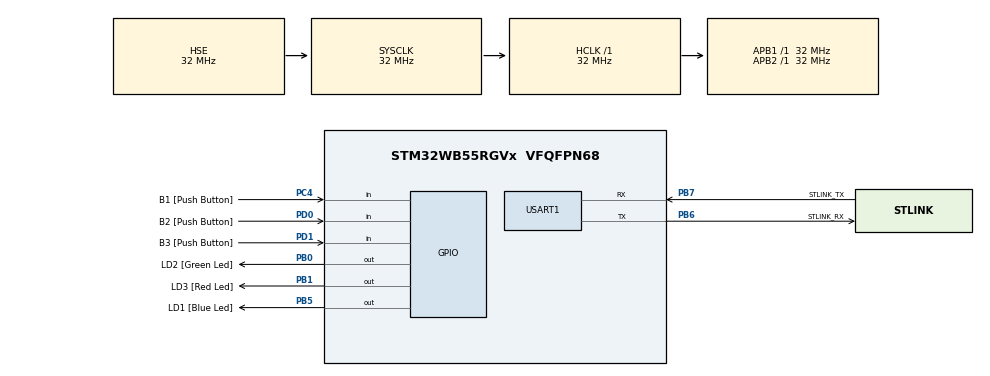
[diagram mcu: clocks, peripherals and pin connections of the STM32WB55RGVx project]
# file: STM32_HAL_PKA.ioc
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Mcu.Family=STM32WB
Mcu.Name=STM32WB55RGVx
Mcu.Package=VFQFPN68
NVIC.PriorityGroup=NVIC_PRIORITYGROUP_4
OSC_IN.Mode=HSE-External-Oscillator
OSC_IN.Signal=RCC_OSC_IN
OSC_OUT.Mode=HSE-External-Oscillator
OSC_OUT.Signal=RCC_OSC_OUT
PA11.Signal=USB_DM
PA12.Signal=USB_DP
PA13.GPIO_Label=JTMS
PA13.Mode=Trace_Asynchronous_SW
PA13.Signal=SYS_JTMS-SWDIO
PA14.GPIO_Label=JTCK
PA14.Mode=Trace_Asynchronous_SW
PA14.Signal=SYS_JTCK-SWCLK
PB0.GPIO_Label=LD2 [Green Led]
PB0.Signal=GPIO_Output
PB1.GPIO_Label=LD3 [Red Led]
PB1.Signal=GPIO_Output
PB3.GPIO_Label=JTDO
PB3.Mode=Trace_Asynchronous_SW
PB3.Signal=SYS_JTDO-SWO
PB5.GPIO_Label=LD1 [Blue Led]
PB5.Signal=GPIO_Output
PB6.GPIO_Label=STLINK_RX
PB6.GPIO_PuPd=GPIO_PULLUP
PB6.Mode=Asynchronous
PB6.Signal=USART1_TX
PB7.GPIO_Label=STLINK_TX
PB7.GPIO_PuPd=GPIO_PULLUP
PB7.Mode=Asynchronous
PB7.Signal=USART1_RX
PC13.Mode=SYS_WakeUp1
PC13.Signal=SYS_WKUP2
PC14-OSC32_IN.Mode=LSE-External-Oscillator
PC14-OSC32_IN.Signal=RCC_OSC32_IN
PC15-OSC32_OUT.Mode=LSE-External-Oscillator
PC15-OSC32_OUT.Signal=RCC_OSC32_OUT
PC4.GPIO_Label=B1 [Push Button]
PC4.Signal=GPIO_Input
PD0.GPIO_Label=B2 [Push Button]
PD0.Signal=GPIO_Input
PD1.GPIO_Label=B3 [Push Button]
PD1.Signal=GPIO_Input
ProjectManager.HeapSize=0x200
ProjectManager.StackSize=0x400
ProjectManager.TargetToolchain=STM32CubeIDE
RCC.ADCFreq_Value=48000000
RCC.AHBFreq_Value=32000000
RCC.APB1Freq_Value=32000000
RCC.APB1TimFreq_Value=32000000
RCC.APB2Freq_Value=32000000
RCC.APB2TimFreq_Value=32000000
RCC.APB3Freq_Value=16000000
RCC.CortexFreq_Value=32000000
RCC.HCLKFreq_Value=32000000
RCC.HSE_VALUE=32000000
RCC.HSI48_VALUE=48000000
RCC.HSI_VALUE=16000000
RCC.PLLN=32
RCC.PLLSAI1N=24
RCC.SMPSCLockSelectionVirtual=RCC_SMPSCLKSOURCE_HSI
RCC.SMPSCLockSelectionVirtualVirtual=RCC_SMPSCLKSOURCE_HSI
RCC.SMPSDivider=1
RCC.SYSCLKFreq_VALUE=32000000
RCC.SYSCLKSource=RCC_SYSCLKSOURCE_HSE
RCC.USBFreq_Value=48000000
RCC.VCOOutputFreq_Value=128000000
USART1.VirtualMode-Asynchronous=VM_ASYNC
USART1.WordLength=WORDLENGTH_7B
VP_PKA_VS_PKA.Mode=PKA_Activate
board=NUCLEO-WB55RG

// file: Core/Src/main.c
/* USER CODE BEGIN Header */
/**
  ******************************************************************************
  * @file           : main.c
  * @brief          : Main program body
  ******************************************************************************
  * @attention
  *
  * Copyright (c) 2022 STMicroelectronics.
  * All rights reserved.
  *
  * This software is licensed under terms that can be found in the LICENSE file
  * in the root directory of this software component.
  * If no LICENSE file comes with this software, it is provided AS-IS.
  *
  ******************************************************************************
  */
/* USER CODE END Header */
#include "main.h"
#include "pka.h"
#include "usart.h"
#include "gpio.h"

/* USER CODE BEGIN Includes */
#include <memory.h>
/* USER CODE END Includes */

void SystemClock_Config(void);
void PeriphCommonClock_Config(void);

/* USER CODE BEGIN 0 */

/*
Tools> openssl rsa -in .\MyPrivKey.pem -text
Private-Key: (1024 bit)
modulus:
    00:c5:dc:8a:7f:82:57:70:06:fa:89:49:61:65:30:
    3b:e5:9d:cb:3f:bd:22:dd:30:51:a3:54:56:9c:f7:
    6e:a4:b7:f7:85:d8:eb:dd:d2:f1:0f:1a:71:48:20:
    7b:aa:42:b8:49:d7:b8:a8:28:7f:3a:9f:34:3e:d7:
    60:f9:11:9b:12:42:01:6c:63:40:33:51:fb:72:b3:
    a5:97:32:76:91:fb:ea:16:73:c2:01:f4:f7:ed:ea:
    22:f7:a2:44:1f:c8:84:00:96:bb:d2:04:23:e6:01:
    d1:92:bd:dd:2b:38:0b:30:31:dd:7d:4f:b6:52:e0:
    01:88:f1:0b:43:ba:d9:d1:2b
publicExponent: 65537 (0x10001)
privateExponent:
    0c:a4:d7:44:e6:b3:67:b9:4a:71:53:7b:21:d8:3f:
    3b:a1:25:c7:e0:f2:45:68:3d:0f:4e:e8:6a:07:75:
    ce:98:e2:fc:6e:ac:43:f4:a2:ea:f0:29:a5:0e:4e:
    58:c7:02:b7:d5:4d:3b:91:ba:ef:a8:14:d2:9f:38:
    d7:31:c4:d2:fc:f6:5b:2d:9f:5a:61:da:74:2f:d7:
    7c:e5:19:aa:64:b8:55:0f:d7:26:60:bb:42:44:47:
    65:a0:09:2f:18:74:ca:9a:b1:52:33:3f:fd:fc:b9:
    13:af:c1:7f:f7:2f:4f:ba:7d:a5:f7:ce:be:fc:cd:
    d9:9c:ad:c7:a2:b5:96:81
prime1:
    00:f8:03:0a:d8:b6:70:b9:b0:c0:03:f2:0b:d9:51:
    1b:dd:38:c9:36:88:0b:97:6b:86:8b:8f:a6:5a:29:
    ba:6a:fc:47:9b:4d:1f:f5:7f:19:09:85:d1:a2:f3:
    61:c7:35:30:c1:dd:e9:48:86:62:a5:dc:d8:c4:fb:
    79:80:b6:62:71
prime2:
    00:cc:3b:fd:0c:b4:cb:14:34:cf:e3:11:63:f2:4b:
    e1:50:29:3f:0c:11:3d:09:17:d5:ab:bd:03:12:df:
    85:c8:e0:4a:bd:93:8f:ca:89:57:12:c2:8f:6b:48:
    ac:4d:6d:2b:95:52:ed:6d:d6:47:0e:14:a5:bf:89:
    89:28:75:83:5b
exponent1:
    19:73:0e:78:e0:77:be:c6:41:5d:e6:47:8a:fc:44:
    b4:b5:b0:08:15:7b:c3:04:f8:a0:77:94:25:6a:64:
    c3:b7:b1:8d:61:23:a7:68:6c:64:4a:c4:11:49:92:
    3e:03:da:45:fa:84:86:b9:ab:83:c3:9e:c6:cf:db:
    4e:f6:e8:31
exponent2:
    00:cb:71:5a:52:44:ea:22:97:b5:19:e8:e1:d9:a3:
    92:ae:ea:57:5e:6a:f1:94:d4:44:49:4d:ff:f8:d5:
    e6:0b:c2:b9:50:fc:e3:f8:8a:34:cd:80:37:a3:54:
    02:27:22:7f:8e:c0:cb:b8:65:01:e4:d9:d6:7d:e4:
    c0:57:28:30:0f
coefficient:
    65:21:7d:89:f1:8f:8c:a4:7f:c7:09:b3:01:11:ad:
    f2:77:72:77:1f:23:ac:9a:52:cd:df:e0:00:13:59:
    87:39:92:de:4a:7d:29:f2:a8:80:7a:34:7d:65:e1:
    e4:66:8f:d6:e5:f5:5e:ff:45:a7:88:cf:e7:c2:76:
    8b:c3:db:cc
writing RSA key
-----BEGIN RSA PRIVATE KEY-----
MIICXAIBAAKBgQDF3Ip/gldwBvqJSWFlMDvlncs/vSLdMFGjVFac926kt/eF2Ovd
0vEPGnFIIHuqQrhJ17ioKH86nzQ+12D5EZsSQgFsY0AzUftys6WXMnaR++oWc8IB
9Pft6iL3okQfyIQAlrvSBCPmAdGSvd0rOAswMd19T7ZS4AGI8QtDutnRKwIDAQAB
AoGADKTXROazZ7lKcVN7Idg/O6Elx+DyRWg9D07oagd1zpji/G6sQ/Si6vAppQ5O
WMcCt9VNO5G676gU0p841zHE0vz2Wy2fWmHadC/XfOUZqmS4VQ/XJmC7QkRHZaAJ
Lxh0ypqxUjM//fy5E6/Bf/cvT7p9pffOvvzN2Zytx6K1loECQQD4AwrYtnC5sMAD
8gvZURvdOMk2iAuXa4aLj6ZaKbpq/EebTR/1fxkJhdGi82HHNTDB3elIhmKl3NjE
+3mAtmJxAkEAzDv9DLTLFDTP4xFj8kvhUCk/DBE9CRfVq70DEt+FyOBKvZOPyolX
EsKPa0isTW0rlVLtbdZHDhSlv4mJKHWDWwJAGXMOeOB3vsZBXeZHivxEtLWwCBV7
wwT4oHeUJWpkw7exjWEjp2hsZErEEUmSPgPaRfqEhrmrg8Oexs/bTvboMQJBAMtx
WlJE6iKXtRno4dmjkq7qV15q8ZTURElN//jV5gvCuVD84/iKNM2AN6NUAicif47A
y7hlAeTZ1n3kwFcoMA8CQGUhfYnxj4ykf8cJswERrfJ3cncfI6yaUs3f4AATWYc5
kt5KfSnyqIB6NH1l4eRmj9bl9V7/RaeIz+fCdovD28w=
-----END RSA PRIVATE KEY-----
*/

uint8_t modulus[] = {
    0x00,0xc5,0xdc,0x8a,0x7f,0x82,0x57,0x70,0x06,0xfa,0x89,0x49,0x61,0x65,0x30,
    0x3b,0xe5,0x9d,0xcb,0x3f,0xbd,0x22,0xdd,0x30,0x51,0xa3,0x54,0x56,0x9c,0xf7,
    0x6e,0xa4,0xb7,0xf7,0x85,0xd8,0xeb,0xdd,0xd2,0xf1,0x0f,0x1a,0x71,0x48,0x20,
    0x7b,0xaa,0x42,0xb8,0x49,0xd7,0xb8,0xa8,0x28,0x7f,0x3a,0x9f,0x34,0x3e,0xd7,
    0x60,0xf9,0x11,0x9b,0x12,0x42,0x01,0x6c,0x63,0x40,0x33,0x51,0xfb,0x72,0xb3,
    0xa5,0x97,0x32,0x76,0x91,0xfb,0xea,0x16,0x73,0xc2,0x01,0xf4,0xf7,0xed,0xea,
    0x22,0xf7,0xa2,0x44,0x1f,0xc8,0x84,0x00,0x96,0xbb,0xd2,0x04,0x23,0xe6,0x01,
    0xd1,0x92,0xbd,0xdd,0x2b,0x38,0x0b,0x30,0x31,0xdd,0x7d,0x4f,0xb6,0x52,0xe0,
    0x01,0x88,0xf1,0x0b,0x43,0xba,0xd9,0xd1,0x2b};

uint8_t publicExponent[] = {0x00,0x01,0x00,0x01};

uint8_t privateExponent[] = {
    0x0c,0xa4,0xd7,0x44,0xe6,0xb3,0x67,0xb9,0x4a,0x71,0x53,0x7b,0x21,0xd8,0x3f,
    0x3b,0xa1,0x25,0xc7,0xe0,0xf2,0x45,0x68,0x3d,0x0f,0x4e,0xe8,0x6a,0x07,0x75,
    0xce,0x98,0xe2,0xfc,0x6e,0xac,0x43,0xf4,0xa2,0xea,0xf0,0x29,0xa5,0x0e,0x4e,
    0x58,0xc7,0x02,0xb7,0xd5,0x4d,0x3b,0x91,0xba,0xef,0xa8,0x14,0xd2,0x9f,0x38,
    0xd7,0x31,0xc4,0xd2,0xfc,0xf6,0x5b,0x2d,0x9f,0x5a,0x61,0xda,0x74,0x2f,0xd7,
    0x7c,0xe5,0x19,0xaa,0x64,0xb8,0x55,0x0f,0xd7,0x26,0x60,0xbb,0x42,0x44,0x47,
    0x65,0xa0,0x09,0x2f,0x18,0x74,0xca,0x9a,0xb1,0x52,0x33,0x3f,0xfd,0xfc,0xb9,
    0x13,0xaf,0xc1,0x7f,0xf7,0x2f,0x4f,0xba,0x7d,0xa5,0xf7,0xce,0xbe,0xfc,0xcd,
    0xd9,0x9c,0xad,0xc7,0xa2,0xb5,0x96,0x81};

uint8_t plainText[] = {
    0x00,0x01,0x02,0x03,0x04,0x05,0x06,0x07,0x08,0x09,0x0a,0x0b,0x0c,0x0d,0x0e,0x0f,
    0x00,0x01,0x02,0x03,0x04,0x05,0x06,0x07,0x08,0x09,0x0a,0x0b,0x0c,0x0d,0x0e,0x0f,
    0x00,0x01,0x02,0x03,0x04,0x05,0x06,0x07,0x08,0x09,0x0a,0x0b,0x0c,0x0d,0x0e,0x0f,
    0x00,0x01,0x02,0x03,0x04,0x05,0x06,0x07,0x08,0x09,0x0a,0x0b,0x0c,0x0d,0x0e,0x0f,
    0x00,0x01,0x02,0x03,0x04,0x05,0x06,0x07,0x08,0x09,0x0a,0x0b,0x0c,0x0d,0x0e,0x0f,
    0x00,0x01,0x02,0x03,0x04,0x05,0x06,0x07,0x08,0x09,0x0a,0x0b,0x0c,0x0d,0x0e,0x0f,
    0x00,0x01,0x02,0x03,0x04,0x05,0x06,0x07,0x08,0x09,0x0a,0x0b,0x0c,0x0d,0x0e,0x0f,
    0x00,0x01,0x02,0x03,0x04,0x05,0x06,0x07,0x08,0x09,0x0a,0x0b,0x0c,0x0d,0x0e,0x0f
};

uint8_t encryptedText[] = {
    0x67,0xf1,0x99,0xc9,0x55,0xc3,0xdb,0x9c,0xa7,0x1e,0x8e,0x90,0xea,0x65,0x07,0x57,
    0x09,0xbe,0x74,0x2b,0x86,0x83,0x63,0xb4,0x2e,0x45,0x58,0xb8,0x04,0x4d,0x21,0xa8,
    0x60,0x62,0xc1,0xe2,0xe6,0x18,0xe3,0xf8,0xa0,0x3d,0xd3,0x43,0xc2,0xcd,0x98,0xe0,
    0xa5,0x1f,0x08,0x09,0x6d,0xd6,0xca,0xe8,0x1f,0x3e,0x54,0xb1,0x88,0x48,0xf4,0x19,
    0x4d,0x86,0x02,0x80,0x40,0x43,0xcb,0x13,0xd4,0x5f,0x89,0xee,0xff,0x03,0x9c,0xf7,
    0xfc,0x7c,0x6f,0x31,0x38,0x0f,0x52,0xbb,0xfa,0x15,0x36,0xc2,0x3e,0xbb,0xaa,0x4a,
    0x75,0xa7,0xe2,0x66,0x0a,0x3a,0xf8,0x56,0xe5,0xa7,0x52,0x7a,0x94,0x67,0x89,0x07,
    0xcb,0x40,0x4a,0x24,0xac,0xfb,0x9b,0x00,0x1c,0xcb,0xd4,0x62,0xfa,0x1c,0xae,0xe0
};

uint8_t encBuffer[128] = {0,};
uint8_t decBuffer[128] = {0,};

/* USER CODE END 0 */

int main(void)
{

  /* MCU Configuration--------------------------------------------------------*/

  /* Reset of all peripherals, Initializes the Flash interface and the Systick. */
  HAL_Init();

  /* Configure the system clock */
  SystemClock_Config();

/* Configure the peripherals common clocks */
  PeriphCommonClock_Config();

  /* Initialize all configured peripherals */
  MX_GPIO_Init();
  MX_PKA_Init();
  MX_USART1_UART_Init();
  /* USER CODE BEGIN 2 */

  PKA_ModExpInTypeDef in;
  in.expSize = sizeof(publicExponent);
  in.OpSize = sizeof(modulus);
  in.pExp = publicExponent;
  in.pMod = modulus;
  in.pOp1 = plainText;

  //publicExponent + modulus = public key
  if(HAL_OK != HAL_PKA_ModExp(&hpka, &in, 1000))
  {
    Error_Handler();
  }

  HAL_PKA_ModExp_GetResult(&hpka, encBuffer);

  if(memcmp(encryptedText, encBuffer, sizeof(encryptedText)) != 0)
  {
    Error_Handler();
  }

  in.expSize = sizeof(privateExponent);
  in.OpSize = sizeof(modulus);
  in.pExp = privateExponent;
  in.pMod = modulus;
  in.pOp1 = encryptedText;

  //privateExponent + modulus = private key
  if(HAL_OK != HAL_PKA_ModExp(&hpka, &in, 1000))
  {
    Error_Handler();
  }

  HAL_PKA_ModExp_GetResult(&hpka, decBuffer);

  if(memcmp(plainText, decBuffer, sizeof(plainText)) != 0)
  {
    Error_Handler();
  }

  /* USER CODE END 2 */

  /* Infinite loop */
  while (1)
  {

  }
}

void SystemClock_Config(void)
{
  RCC_OscInitTypeDef RCC_OscInitStruct = {0};
  RCC_ClkInitTypeDef RCC_ClkInitStruct = {0};

  /** Configure the main internal regulator output voltage
  */
  __HAL_PWR_VOLTAGESCALING_CONFIG(PWR_REGULATOR_VOLTAGE_SCALE1);

  /** Initializes the RCC Oscillators according to the specified parameters
  * in the RCC_OscInitTypeDef structure.
  */
  RCC_OscInitStruct.OscillatorType = RCC_OSCILLATORTYPE_HSI|RCC_OSCILLATORTYPE_HSE;
  RCC_OscInitStruct.HSEState = RCC_HSE_ON;
  RCC_OscInitStruct.HSIState = RCC_HSI_ON;
  RCC_OscInitStruct.HSICalibrationValue = RCC_HSICALIBRATION_DEFAULT;
  RCC_OscInitStruct.PLL.PLLState = RCC_PLL_NONE;
  if (HAL_RCC_OscConfig(&RCC_OscInitStruct) != HAL_OK)
  {
    Error_Handler();
  }

  /** Configure the SYSCLKSource, HCLK, PCLK1 and PCLK2 clocks dividers
  */
  RCC_ClkInitStruct.ClockType = RCC_CLOCKTYPE_HCLK4|RCC_CLOCKTYPE_HCLK2
                              |RCC_CLOCKTYPE_HCLK|RCC_CLOCKTYPE_SYSCLK
                              |RCC_CLOCKTYPE_PCLK1|RCC_CLOCKTYPE_PCLK2;
  RCC_ClkInitStruct.SYSCLKSource = RCC_SYSCLKSOURCE_HSE;
  RCC_ClkInitStruct.AHBCLKDivider = RCC_SYSCLK_DIV1;
  RCC_ClkInitStruct.APB1CLKDivider = RCC_HCLK_DIV1;
  RCC_ClkInitStruct.APB2CLKDivider = RCC_HCLK_DIV1;
  RCC_ClkInitStruct.AHBCLK2Divider = RCC_SYSCLK_DIV1;
  RCC_ClkInitStruct.AHBCLK4Divider = RCC_SYSCLK_DIV1;

  if (HAL_RCC_ClockConfig(&RCC_ClkInitStruct, FLASH_LATENCY_1) != HAL_OK)
  {
    Error_Handler();
  }
}

void PeriphCommonClock_Config(void)
{
  RCC_PeriphCLKInitTypeDef PeriphClkInitStruct = {0};

  /** Initializes the peripherals clock
  */
  PeriphClkInitStruct.PeriphClockSelection = RCC_PERIPHCLK_SMPS;
  PeriphClkInitStruct.SmpsClockSelection = RCC_SMPSCLKSOURCE_HSI;
  PeriphClkInitStruct.SmpsDivSelection = RCC_SMPSCLKDIV_RANGE0;

  if (HAL_RCCEx_PeriphCLKConfig(&PeriphClkInitStruct) != HAL_OK)
  {
    Error_Handler();
  }
}

void Error_Handler(void)
{
  /* USER CODE BEGIN Error_Handler_Debug */
  /* User can add his own implementation to report the HAL error return state */
  __disable_irq();
  while (1)
  {
    HAL_GPIO_WritePin(LD3_GPIO_Port, LD3_Pin, GPIO_PIN_SET);
  }
  /* USER CODE END Error_Handler_Debug */
}
